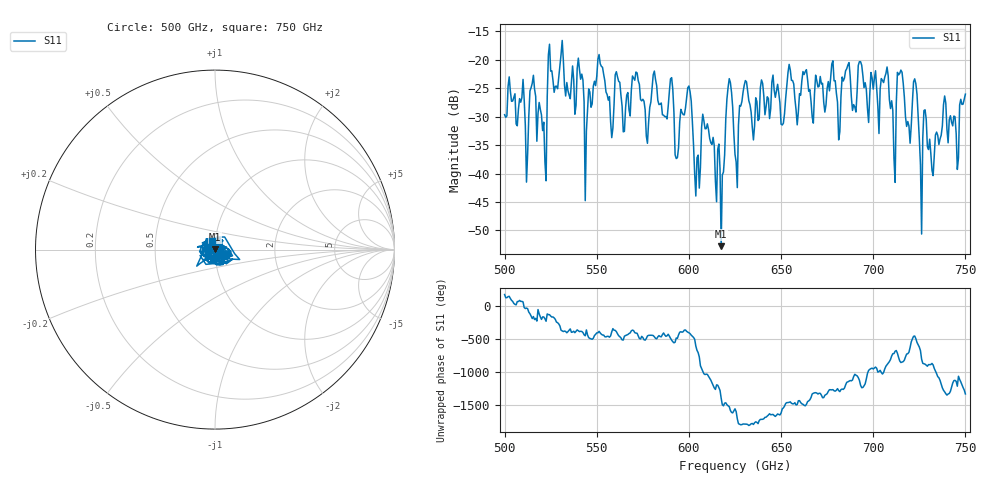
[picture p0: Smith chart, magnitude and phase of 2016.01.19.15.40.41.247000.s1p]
!Created with skrf (http://scikit-rf.org).
# GHz S RI R 50.0
!freq ReS11 ImS11
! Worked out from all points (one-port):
!   401 points, 500 GHz to 750 GHz, reference 50 ohm
!   lowest |S11| = -52.8 dB at 617.5 GHz (marker M1), VSWR 1.00, Z = 50.2 + j0.156 ohm
!   |S11| at or under -10 dB: start of sweep to end of sweep
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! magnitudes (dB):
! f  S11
! 500 GHz  -29.7
! 511.9 GHz  -41.5
! 515 GHz  -24.1
! 521.2 GHz  -31.0
! 524.4 GHz  -17.3
! 531.2 GHz  -16.6
! 544.4 GHz  -32.6
! 551.9 GHz  -20.7
! 562.5 GHz  -24.0
! 590 GHz  -23.3
! 593.8 GHz  -37.2
! 600 GHz  -24.6
! 604.4 GHz  -37.2
! 608.8 GHz  -32.1
! 617.5 GHz  -52.8
! 621.9 GHz  -23.3
! 625 GHz  -36.6
! 630.6 GHz  -23.7
! 656.2 GHz  -23.6
! 687.5 GHz  -22.9
! 706.9 GHz  -22.4
! 710.6 GHz  -28.9
! 714.4 GHz  -22.4
! 718.8 GHz  -30.8
! 722.5 GHz  -23.3
! 725.6 GHz  -38.5
! 731.9 GHz  -39.4
! 750 GHz  -26.0
